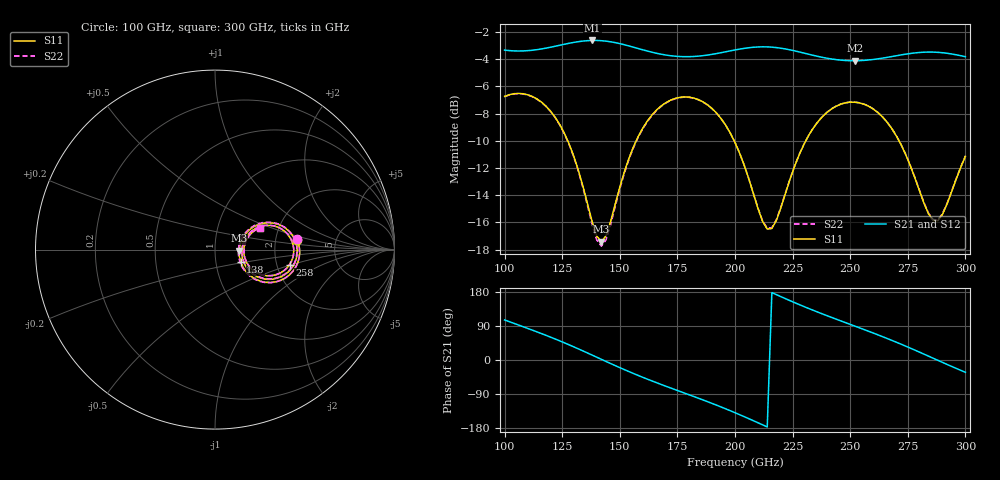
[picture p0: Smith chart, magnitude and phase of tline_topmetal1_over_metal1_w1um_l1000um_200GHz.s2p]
#  GHZ S DB R 50
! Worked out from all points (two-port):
!   101 points, 100 GHz to 300 GHz, reference 50 ohm
!   highest |S21| = -2.62 dB at 138 GHz (marker M1); lowest = -4.1 dB at 252 GHz (marker M2)
!   |S21| within 3 dB of the highest: start of sweep to end of sweep
!   lowest |S11| = -17.4 dB at 142 GHz (marker M3), VSWR 1.31, Z = 65.5 - j0.85 ohm
!   |S11| at or under -10 dB: 127.4 GHz to 157.1 GHz (29.72 GHz wide, 20.9 % of centre); 199.6 GHz to 230.7 GHz (31.09 GHz wide, 14.4 % of centre); 271.2 GHz to end of sweep
!   |S22| runs from -17.7 to -6.5 dB; largest |S21 - S12| = 0
!   S11 on the Smith chart (normalised r, x): 100 GHz: 2.65, +0.37; 138 GHz: 1.32, -0.19; 258 GHz: 2.35, -0.48; 300 GHz: 1.60, +0.42
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100  -6.73 7.0  -3.33 105.7  -3.33 105.7  -6.75 7.1
108  -6.54 -5.9  -3.39 87.9  -3.39 87.9  -6.55 -5.9
118  -7.46 -21.7  -3.18 65.0  -3.18 65.0  -7.48 -21.9
126  -9.47 -32.8  -2.90 45.2  -2.90 45.2  -9.50 -33.2
134  -13.34 -35.5  -2.67 24.0  -2.67 24.0  -13.44 -36.4
138  -15.95 -26.0  -2.62 12.9  -2.62 12.9  -16.16 -26.9
142  -17.42 -2.7  -2.64 1.8  -2.64 1.8  -17.74 -2.7
156  -10.41 29.0  -3.12 -35.8  -3.12 -35.8  -10.48 29.9
168  -7.43 13.9  -3.63 -64.6  -3.63 -64.6  -7.46 14.6
186  -7.12 -13.4  -3.74 -105.2  -3.74 -105.2  -7.14 -12.9
200  -10.12 -31.3  -3.32 -139.1  -3.32 -139.1  -10.12 -30.8
212  -15.94 -17.3  -3.09 -171.2  -3.09 -171.2  -15.89 -16.8
216  -16.45 3.6  -3.11 177.9  -3.11 177.9  -16.38 4.0
224  -12.77 26.8  -3.32 156.3  -3.32 156.3  -12.74 27.0
234  -9.06 22.0  -3.72 131.0  -3.72 131.0  -9.04 22.1
252  -7.16 -2.8  -4.11 89.5  -4.11 89.5  -7.15 -2.6
258  -7.46 -11.5  -4.06 75.8  -4.06 75.8  -7.45 -11.2
268  -9.09 -24.4  -3.81 52.0  -3.81 52.0  -9.08 -24.1
278  -12.69 -28.2  -3.54 26.3  -3.54 26.3  -12.66 -27.8
286  -15.85 -6.5  -3.48 4.7  -3.48 4.7  -15.79 -6.3
290  -15.43 11.3  -3.52 -6.1  -3.52 -6.1  -15.37 11.4
300  -11.14 25.9  -3.81 -32.5  -3.81 -32.5  -11.12 26.0
